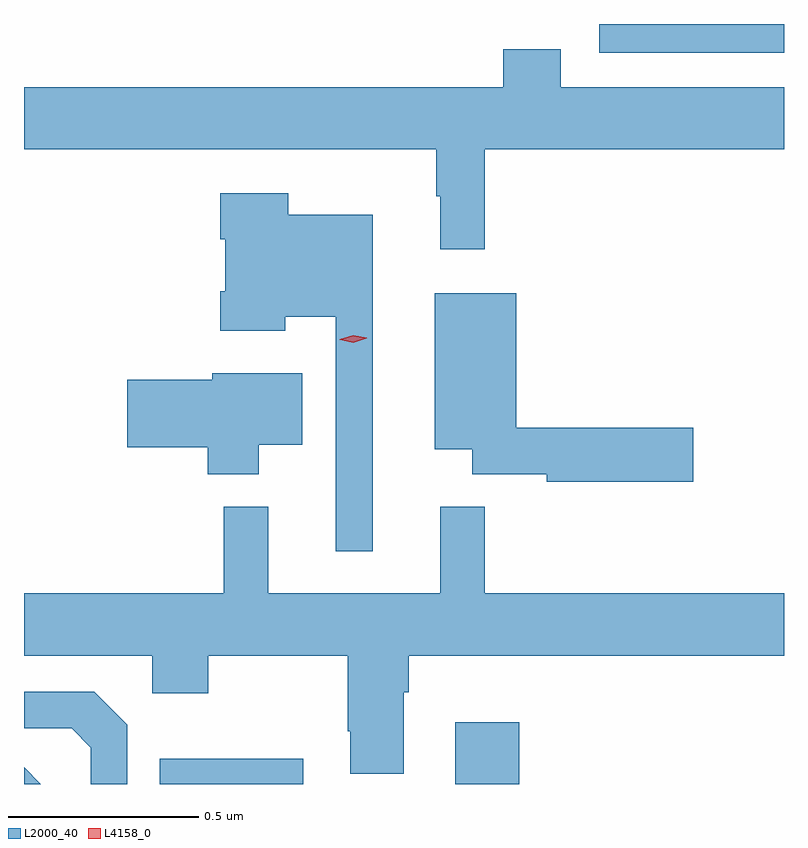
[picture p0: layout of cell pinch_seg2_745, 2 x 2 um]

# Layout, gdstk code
import gdstk
lib = gdstk.Library(unit=1e-6, precision=1e-09)
def R(c, l, rs):  # rectangles x0, y0, x1, y1
    for r in rs: c.add(gdstk.rectangle(r[:2], r[2:], *l))
def P(c, l, *ps):  # polygons
    for p in ps: c.add(gdstk.Polygon(p, *l))
L2000_40 = (2000, 40)
L4158_0 = (4158, 0)

pinch_seg2_745 = lib.new_cell('pinch_seg2_745')
R(pinch_seg2_745, L2000_40, [(778.825,659.286,779.203,659.353), (779.603,659.286,779.771,659.449), (779.982,661.211,780.468,661.286)])
P(pinch_seg2_745, L2000_40, [(779.681,660.956),(780.468,660.956),(780.468,661.12),(779.881,661.12),(779.881,661.219),(779.729,661.219),(779.729,661.12),(778.468,661.12),(778.468,660.956),(779.553,660.956),(779.553,660.833),(779.564,660.833),(779.564,660.693),(779.681,660.693)],
  [(779.386,660.784),(779.163,660.784),(779.163,660.841),(778.985,660.841),(778.985,660.719),(778.997,660.719),(778.997,660.583),(778.985,660.583),(778.985,660.479),(779.155,660.479),(779.155,660.515),(779.289,660.515),(779.289,659.898),(779.386,659.898)],
  [(780.229,660.224),(779.764,660.224),(779.764,660.577),(779.549,660.577),(779.549,660.167),(779.648,660.167),(779.648,660.101),(779.844,660.101),(779.844,660.082),(780.229,660.082)],
  [(779.086,660.179),(779.2,660.179),(779.2,660.367),(778.964,660.367),(778.964,660.35),(778.74,660.35),(778.74,660.172),(778.952,660.172),(778.952,660.101),(779.086,660.101)],
  [(779.467,659.528),(779.48,659.528),(779.48,659.624),(780.468,659.624),(780.468,659.788),(779.681,659.788),(779.681,660.016),(779.564,660.016),(779.564,659.788),(779.111,659.788),(779.111,660.016),(778.993,660.016),(778.993,659.788),(778.468,659.788),(778.468,659.624),(778.806,659.624),(778.806,659.525),(778.953,659.525),(778.953,659.624),(779.32,659.624),(779.32,659.425),(779.327,659.425),(779.327,659.313),(779.467,659.313)],
  [(778.74,659.442),(778.653,659.529),(778.468,659.529),(778.468,659.433),(778.593,659.433),(778.644,659.382),(778.644,659.286),(778.74,659.286)],
  [(778.468,659.33),(778.468,659.286),(778.512,659.286)])
P(pinch_seg2_745, L4158_0, [(779.335,660.447),(779.299,660.455),(779.299,660.455),(779.299,660.456),(779.334,660.467),(779.37,660.46),(779.37,660.46),(779.37,660.459)])

lib.write_gds('pinch_seg2_745.gds')
